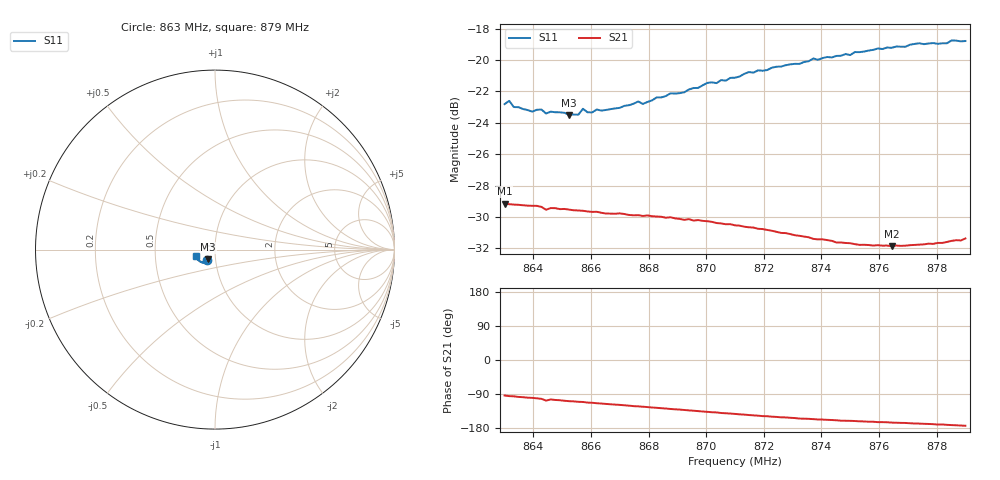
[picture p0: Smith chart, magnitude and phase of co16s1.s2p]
# HZ S RI R 50
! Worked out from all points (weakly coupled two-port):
!   101 points, 863 MHz to 879 MHz, reference 50 ohm
!   highest |S21| = -29.14 dB at 863 MHz (marker M1); lowest = -31.9 dB at 876.44 MHz (marker M2)
!   lowest |S11| = -23.5 dB at 865.24 MHz (marker M3), VSWR 1.14, Z = 46.1 - j5.1 ohm
!   |S11| at or under -10 dB: start of sweep to end of sweep
!   S12 and S22 are empty: the file has one direction only
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8.63e8  -0.0458 -0.056  -0.00225 -0.0348  0 0  0 0
8.6316e8  -0.0482 -0.0563  -0.0032 -0.0346  0 0  0 0
8.6332e8  -0.045 -0.0546  -0.00352 -0.0344  0 0  0 0
8.6396e8  -0.0416 -0.0544  -0.00593 -0.0338  0 0  0 0
8.6428e8  -0.04 -0.0568  -0.00739 -0.0332  0 0  0 0
8.6444e8  -0.0405 -0.054  -0.0098 -0.0319  0 0  0 0
8.646e8  -0.0402 -0.0554  -0.00828 -0.0327  0 0  0 0
8.6524e8  -0.0379 -0.0551  -0.0107 -0.0316  0 0  0 0
8.6556e8  -0.0361 -0.0564  -0.0115 -0.0311  0 0  0 0
8.6572e8  -0.0393 -0.0578  -0.0117 -0.0309  0 0  0 0
8.6604e8  -0.0352 -0.0582  -0.0127 -0.0302  0 0  0 0
8.6764e8  -0.0366 -0.064  -0.0171 -0.0271  0 0  0 0
8.678e8  -0.0355 -0.0631  -0.0175 -0.0266  0 0  0 0
8.6844e8  -0.0378 -0.0659  -0.0192 -0.0252  0 0  0 0
8.6972e8  -0.0413 -0.0702  -0.0218 -0.0219  0 0  0 0
8.7004e8  -0.0443 -0.072  -0.0223 -0.021  0 0  0 0
8.71e8  -0.0494 -0.0725  -0.0235 -0.0182  0 0  0 0
8.7148e8  -0.0538 -0.074  -0.0241 -0.0167  0 0  0 0
8.7324e8  -0.0654 -0.0719  -0.0249 -0.0118  0 0  0 0
8.7372e8  -0.0701 -0.0729  -0.0246 -0.0109  0 0  0 0
8.7644e8  -0.0916 -0.0597  -0.0247 -0.00655  0 0  0 0
8.79e8  -0.1086 -0.0376  -0.0268 -0.00305  0 0  0 0
